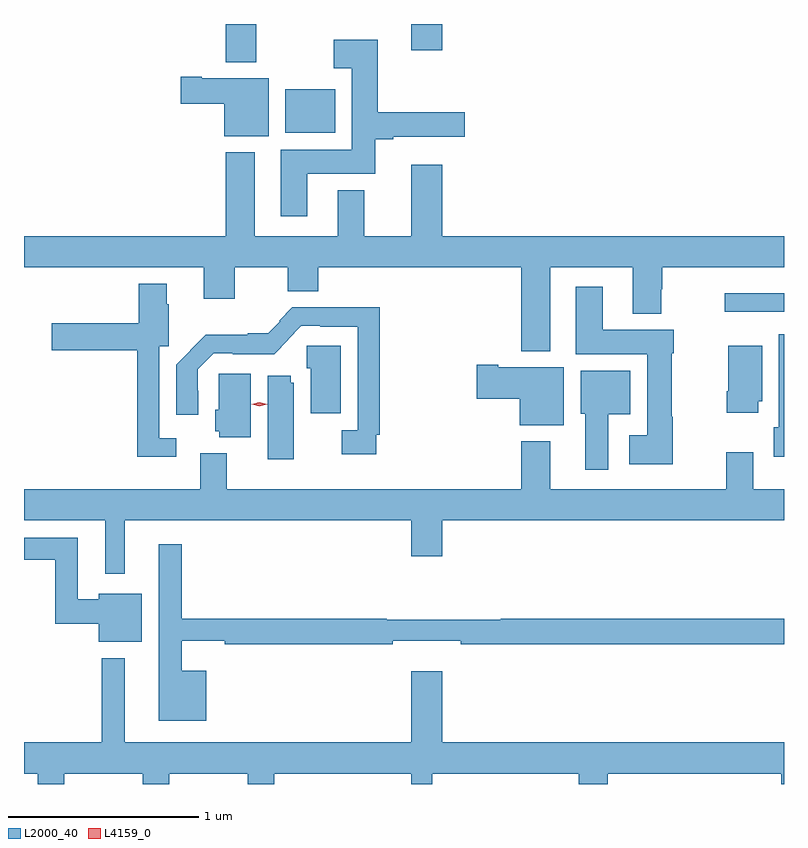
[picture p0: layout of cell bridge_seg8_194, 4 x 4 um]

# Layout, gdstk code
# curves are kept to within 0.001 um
import gdstk
lib = gdstk.Library(unit=1e-6, precision=1e-09)
def R(c, l, rs):  # rectangles x0, y0, x1, y1
    for r in rs: c.add(gdstk.rectangle(r[:2], r[2:], *l))
def P(c, l, *ps):  # polygons
    for p in ps: c.add(gdstk.Polygon(p, *l))
L2000_40 = (2000, 40)
L4159_0 = (4159, 0)

bridge_seg8_194 = lib.new_cell('bridge_seg8_194')
R(bridge_seg8_194, L2000_40, [(358.467,1089.627,358.778,1089.724), (356.153,1090.568,356.416,1090.798), (355.841,1090.94,356.001,1091.141), (356.816,1091.004,356.98,1091.141)])
P(bridge_seg8_194, L2000_40, [(356.269,1090.352),(356.626,1090.352),(356.626,1090.535),(356.722,1090.535),(356.722,1090.547),(357.097,1090.547),(357.097,1090.677),(356.639,1090.677),(356.639,1091.059),(356.409,1091.059),(356.409,1090.907),(356.504,1090.907),(356.504,1090.48),(356.129,1090.48),(356.129,1090.128),(356.269,1090.128)],
  [(356.065,1090.855),(355.714,1090.855),(355.714,1090.863),(355.602,1090.863),(355.602,1090.721),(355.832,1090.721),(355.832,1090.55),(356.065,1090.55)],
  [(357.547,1089.86),(357.983,1089.86),(357.983,1089.617),(358.131,1089.617),(358.131,1089.744),(358.136,1089.744),(358.136,1089.86),(358.778,1089.86),(358.778,1090.024),(356.98,1090.024),(356.98,1090.399),(356.816,1090.399),(356.816,1090.024),(356.569,1090.024),(356.569,1090.267),(356.429,1090.267),(356.429,1090.024),(355.993,1090.024),(355.993,1090.465),(355.841,1090.465),(355.841,1090.024),(354.778,1090.024),(354.778,1089.86),(355.724,1089.86),(355.724,1089.696),(355.888,1089.696),(355.888,1089.86),(356.165,1089.86),(356.165,1089.734),(356.326,1089.734),(356.326,1089.86),(357.395,1089.86),(357.395,1089.419),(357.547,1089.419)],
  [(355.579,1088.961),(355.491,1088.961),(355.491,1089.444),(355.541,1089.444),(355.541,1089.665),(355.528,1089.665),(355.528,1089.775),(355.382,1089.775),(355.382,1089.567),(354.924,1089.567),(354.924,1089.425),(355.375,1089.425),(355.375,1088.864),(355.579,1088.864)],
  [(358.193,1089.073),(358.188,1089.073),(358.188,1089.408),(358.198,1089.408),(358.198,1089.532),(357.823,1089.532),(357.823,1089.757),(357.683,1089.757),(357.683,1089.404),(358.058,1089.404),(358.058,1088.977),(357.963,1088.977),(357.963,1088.825),(358.193,1088.825)],
  [(356.631,1088.98),(356.651,1088.98),(356.651,1089.649),(356.191,1089.649),(356.121,1089.579),(356.125,1089.575),(356.063,1089.513),(355.955,1089.513),(355.955,1089.505),(355.735,1089.505),(355.58,1089.348),(355.58,1089.084),(355.696,1089.084),(355.696,1089.211),(355.692,1089.211),(355.692,1089.324),(355.776,1089.408),(355.876,1089.408),(355.876,1089.404),(356.094,1089.404),(356.168,1089.478),(356.166,1089.48),(356.238,1089.552),(356.338,1089.552),(356.338,1089.548),(356.535,1089.548),(356.535,1089.004),(356.451,1089.004),(356.451,1088.876),(356.631,1088.876)],
  [(358.778,1089.508),(358.751,1089.508),(358.751,1089.018),(358.724,1089.018),(358.724,1088.864),(358.778,1088.864)],
  [(358.642,1089.156),(358.663,1089.156),(358.663,1089.448),(358.484,1089.448),(358.484,1089.208),(358.477,1089.208),(358.477,1089.096),(358.642,1089.096)],
  [(356.446,1089.447),(356.265,1089.447),(356.265,1089.33),(356.288,1089.33),(356.288,1089.092),(356.446,1089.092)],
  [(357.619,1089.334),(357.274,1089.334),(357.274,1089.347),(357.162,1089.347),(357.162,1089.169),(357.386,1089.169),(357.386,1089.029),(357.619,1089.029)],
  [(357.853,1089.086),(357.97,1089.086),(357.97,1089.316),(357.707,1089.316),(357.707,1089.09),(357.731,1089.09),(357.731,1088.796),(357.853,1088.796)],
  [(355.972,1089.3),(355.803,1089.3),(355.803,1089.111),(355.784,1089.111),(355.784,1088.997),(355.806,1088.997),(355.806,1088.966),(355.972,1088.966)],
  [(356.197,1089.252),(356.182,1089.252),(356.182,1089.289),(356.06,1089.289),(356.06,1088.85),(356.197,1088.85)],
  [(355.309,1088.528),(356.816,1088.528),(356.816,1088.34),(356.98,1088.34),(356.98,1088.528),(358.778,1088.528),(358.778,1088.692),(358.615,1088.692),(358.615,1088.887),(358.475,1088.887),(358.475,1088.692),(357.547,1088.692),(357.547,1088.944),(357.395,1088.944),(357.395,1088.692),(355.846,1088.692),(355.846,1088.881),(355.706,1088.881),(355.706,1088.692),(354.778,1088.692),(354.778,1088.528),(355.205,1088.528),(355.205,1088.247),(355.309,1088.247)],
  [(355.399,1088.143),(355.172,1088.143),(355.172,1088.113),(355.06,1088.113),(355.06,1088.436),(354.778,1088.436),(354.778,1088.32),(354.943,1088.32),(354.943,1087.984),(355.172,1087.984),(355.172,1087.889),(355.399,1087.889)],
  [(355.738,1087.738),(355.609,1087.738),(355.609,1087.895),(355.834,1087.895),(355.834,1087.876),(356.72,1087.876),(356.72,1087.895),(357.076,1087.895),(357.076,1087.876),(358.778,1087.876),(358.778,1088.012),(357.287,1088.012),(357.287,1088.005),(356.687,1088.005),(356.687,1088.012),(355.609,1088.012),(355.609,1088.404),(355.487,1088.404),(355.487,1087.475),(355.738,1087.475)],
  [(354.991,1087.196),(355.403,1087.196),(355.403,1087.141),(355.543,1087.141),(355.543,1087.196),(355.955,1087.196),(355.955,1087.141),(356.095,1087.141),(356.095,1087.196),(356.816,1087.196),(356.816,1087.141),(356.927,1087.141),(356.927,1087.196),(357.698,1087.196),(357.698,1087.141),(357.851,1087.141),(357.851,1087.196),(358.763,1087.196),(358.763,1087.141),(358.778,1087.141),(358.778,1087.36),(356.98,1087.36),(356.98,1087.735),(356.816,1087.735),(356.816,1087.36),(355.309,1087.36),(355.309,1087.804),(355.188,1087.804),(355.188,1087.36),(354.778,1087.36),(354.778,1087.196),(354.851,1087.196),(354.851,1087.141),(354.991,1087.141)])
P(bridge_seg8_194, L4159_0, [(356.017,1089.129),(355.976,1089.139),(355.976,1089.139),(355.976,1089.14),(356.017,1089.149),(356.058,1089.139),(356.058,1089.139),(356.058,1089.139)])

lib.write_gds('bridge_seg8_194.gds')
